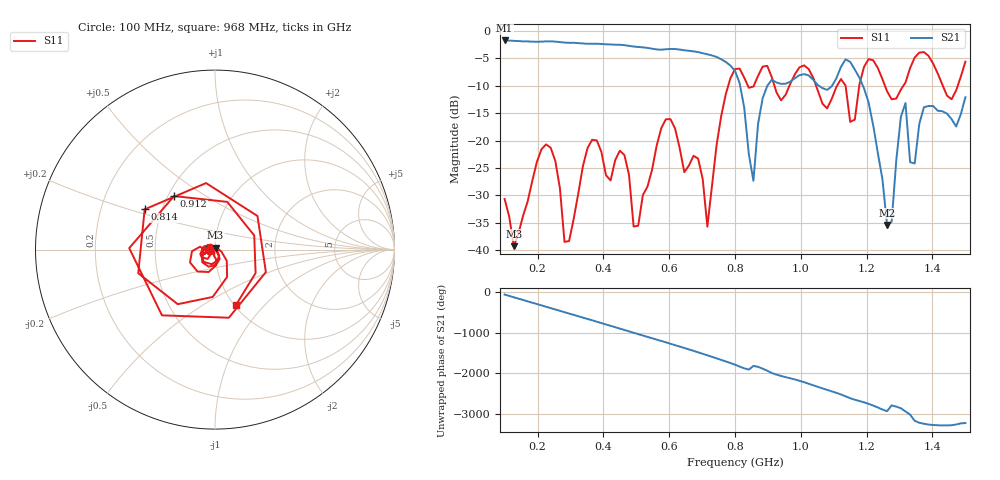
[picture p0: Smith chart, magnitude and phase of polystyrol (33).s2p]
! NanoVNA-App
! Date: 2025-09-26 09:42:08
! Start: 100MHz Stop: 1,5GHz Points: 101
! S-Parameter data: F S11 S21 S12 S22
# Hz S RI R 50
!  Frequency  S11_Real  S11_Imag  S21_Real  S21_Imag  S12_Real  S12_Imag  S22_Real  S22_Imag
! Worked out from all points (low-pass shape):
!   101 points, 100 MHz to 1.5 GHz, reference 50 ohm
!   highest |S21| = -1.79 dB at 100 MHz (marker M1); lowest = -35.4 dB at 1.262 GHz (marker M2)
!   |S21| within 3 dB of the highest: start of sweep to 744.1 MHz
!   lowest |S11| = -39.2 dB at 128 MHz (marker M3), VSWR 1.02, Z = 50.3 + j1.06 ohm
!   |S11| at or under -10 dB: start of sweep to 779.6 MHz; 1.046 GHz to 1.11 GHz (64.19 MHz wide, 5.95 % of centre); 1.255 GHz to 1.312 GHz (56.54 MHz wide, 4.4 % of centre) (the widest 3 of 7)
!   S12 and S22 are empty: the file has one direction only
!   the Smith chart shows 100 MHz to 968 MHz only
!   S11 on the Smith chart (normalised r, x): 100 MHz: 0.94, -0.01; 814 MHz: 0.40, +0.23; 912 MHz: 0.54, +0.37; 968 MHz: 1.02, -0.70
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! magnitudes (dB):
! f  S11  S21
! 100 MHz  -30.6  -1.8
! 128 MHz  -39.2  -1.9
! 212 MHz  -21.6  -2.0
! 282 MHz  -38.5  -2.2
! 338 MHz  -24.6  -2.3
! 464 MHz  -22.6  -2.6
! 506 MHz  -35.5  -3.0
! 576 MHz  -17.7  -3.5
! 688 MHz  -23.3  -3.9
! 716 MHz  -35.7  -4.3
! 800 MHz  -7.0  -7.3
! 814 MHz  -6.9  -9.5
! 856 MHz  -10.2  -27.3
! 912 MHz  -8.5  -8.9
! 968 MHz  -9.7  -9.3
! 1.038 GHz  -8.6  -9.0
! 1.178 GHz  -9.8  -8.6
! 1.262 GHz  -11.0  -35.4
! 1.276 GHz  -12.5  -34.8
! 1.318 GHz  -9.4  -13.2
! 1.346 GHz  -4.9  -24.2
! 1.5 GHz  -5.7  -12.1
